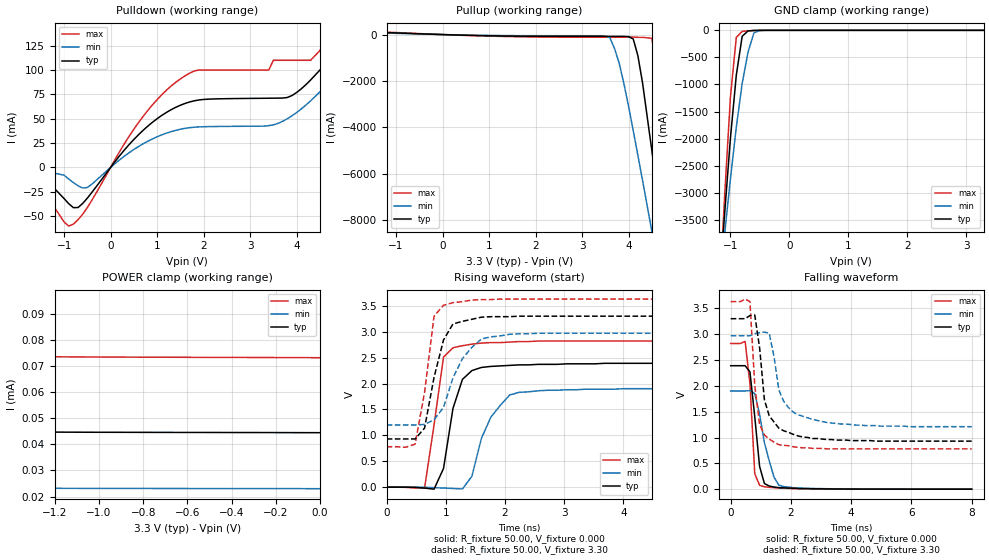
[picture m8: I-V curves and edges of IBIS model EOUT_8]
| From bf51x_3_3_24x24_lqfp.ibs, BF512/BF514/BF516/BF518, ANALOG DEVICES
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|   Model prwd0408swcdg_25
[Model]   EOUT_8
Model_type   I/O
Polarity   Non-Inverting
Enable   Active-Low
Vinl =   0.40V
Vinh =   2.40V
Vmeas =   1.20V
Cref =  50.00pF
Rref =   1.00M
Vref =  0.000V
C_comp   4.84pF   4.35pF   5.32pF
[Temperature Range]   25.00   0.12k   -40.00
[Voltage Range]   3.30V   2.97V   3.63V
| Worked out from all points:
|   slope of the pulldown table from 0 to 0.495 V, typ, clamps not added: 17.4 ohm
|   slope of the pullup table from 0 to 0.495 V, typ, clamps not added: 17.2 ohm
|   GND clamp passes 1 mA (typ) near -0.52 V on its own axis
|   POWER clamp passes 1 mA (typ) near -3.01 V on its own axis
|   rising waveform, R_fixture 50.00, V_fixture 0.000: 20-80 % time 256ps typ, 401ps min, 213ps max; typ from 0 V to 2.39 V
|   rising waveform, R_fixture 50.00, V_fixture 3.30: 20-80 % time 274ps typ, 415ps min, 211ps max; typ from 0.93 V to 3.3 V
|   falling waveform, R_fixture 50.00, V_fixture 0.000: 20-80 % time 248ps typ, 433ps min, 178ps max; typ from 2.39 V to 0 V
|   falling waveform, R_fixture 50.00, V_fixture 3.30: 20-80 % time 363ps typ, 532ps min, 243ps max; typ from 3.3 V to 0.93 V
[Pulldown]
| voltage   I(typ)   I(min)   I(max)
-3.3V     0A         0A         0A
-1.7V     0A         0A         -10mA
-900mV    -37.3mA    -12mA      -60.3mA
-500mV    -31.56mA   -20.63mA   -41.24mA
700mV     38.11mA    24.26mA    52.44mA
1.7V      67.21mA    40.81mA    96.76mA
3.9V      73.81mA    53.01mA    110mA
4.3V      89.76mA    68.34mA    110mA
5.1V      140mA      110mA      170mA
5.5V      170mA      59.43mA    210mA
6.1V      130mA      60.56mA    270mA
6.6V      900mA      68.72mA    3.72A
[Pullup]
| voltage   I(typ)   I(min)   I(max)
-3.3V     29.4mA     8.7mA      61mA
-2.5V     150mA      14.58mA    190mA
3.6V      -78.88mA   -140mA     -110mA
3.8V      -79.54mA   -1.25A     -110mA
4.1V      -190mA     -4.14A     -110mA
4.2V      -910mA     -5.21A     -120mA
4.3V      -2.08A     -6.29A     -120mA
4.5V      -5A        -8.48A     -160mA
4.7V      -8.09A     -10.68A    -2.62A
4.9V      -11.24A    -12.9A     -6.81A
5.1V      -14.4A     -15.12A    -11.2A
6.6V      -38.32A    -31.88A    -44.78A
[GND_clamp]
| voltage   I(typ)   I(min)   I(max)
-3.3V     -38.23A    -28.13A    -52.07A
-1.2V     -4.92A     -4.84A     -5.19A
-1.1V     -3.42A     -3.78A     -3.1A
-1V       -2A        -2.75A     -1.24A
-900mV    -830mA     -1.79A     -130mA
-800mV    -110mA     -980mA     -19.36mA
-700mV    -10.18mA   -400mA     -9.87mA
-600mV    -2.62mA    -45.19mA   -3.54mA
-500mV    -480uA     -4.58mA    -580uA
3.3V      44.45uA    23.04uA    73.04uA
[POWER_clamp]
| voltage   I(typ)   I(min)   I(max)
-3.3V     770mA      27.6uA     7.85A
-3.2V     190mA      26.92uA    6.49A
-3V       280uA      26.02uA    3.82A
-2.9V     54.42uA    25.63uA    2.54A
-2.8V     48.8uA     25.28uA    1.33A
-2.5V     47.08uA    24.43uA    150uA
-2.4V     46.67uA    24.21uA    77.43uA
-2.3V     46.3uA     24.02uA    76.27uA
-1.9V     45.3uA     23.48uA    74.58uA
-1.5V     44.82uA    23.22uA    73.79uA
0V        44.45uA    22.99uA    73.18uA
[Ramp]
| variable   typ   min   max
dV/dt_r   1.43/0.22n   1.14/0.34n   1.69/0.15n
dV/dt_f   1.42/0.31n   1.06/0.48n   1.71/0.20n
R_load = 50.00
[Rising Waveform]
R_fixture = 50.00
V_fixture = 0.000
V_fixture_min = 0.000
V_fixture_max = 0.000
L_fixture = 0.000H
C_fixture = 0.000F
| time   V(typ)   V(min)   V(max)
0s        0V         0V         0V
640ps     -17.91mV   -2.16mV    -17.8mV
800ps     -38.97mV   -10.66mV   1.2V
960ps     360mV      -17.51mV   2.51V
1.12ns    1.52V      -25.75mV   2.69V
1.28ns    2.08V      -34.95mV   2.73V
1.44ns    2.25V      210mV      2.76V
1.76ns    2.33V      1.35V      2.79V
2.24ns    2.36V      1.83V      2.81V
8ns       2.39V      1.9V       2.82V
[Rising Waveform]
R_fixture = 50.00
V_fixture = 3.30
V_fixture_min = 2.97
V_fixture_max = 3.63
L_fixture = 0.000H
C_fixture = 0.000F
| time   V(typ)   V(min)   V(max)
0s        930mV      1.2V       780mV
480ps     930mV      1.2V       830mV
640ps     1.14V      1.21V      1.83V
800ps     2.12V      1.3V       3.3V
960ps     2.84V      1.54V      3.51V
1.12ns    3.15V      2.11V      3.56V
1.28ns    3.2V       2.48V      3.58V
1.6ns     3.28V      2.86V      3.62V
1.76ns    3.29V      2.9V       3.62V
8ns       3.3V       2.97V      3.63V
[Falling Waveform]
R_fixture = 50.00
V_fixture = 0.000
V_fixture_min = 0.000
V_fixture_max = 0.000
L_fixture = 0.000H
C_fixture = 0.000F
| time   V(typ)   V(min)   V(max)
0s        2.39V      1.9V       2.82V
480ps     2.39V      1.9V       2.86V
640ps     2.27V      1.91V      2.04V
800ps     1.4V       1.85V      300mV
960ps     440mV      1.45V      74.05mV
1.12ns    110mV      900mV      45.69mV
1.44ns    41.33mV    230mV      28.7mV
1.6ns     30.06mV    77.82mV    21.31mV
2.72ns    7.85mV     13.2mV     4.35mV
8ns       42.18uV    110uV      -14.36uV
[Falling Waveform]
R_fixture = 50.00
V_fixture = 3.30
V_fixture_min = 2.97
V_fixture_max = 3.63
L_fixture = 0.000H
C_fixture = 0.000F
| time   V(typ)   V(min)   V(max)
0s        3.3V       2.97V      3.63V
640ps     3.36V      2.97V      3.63V
800ps     3.37V      3.01V      2.01V
960ps     2.74V      3.03V      1.25V
1.12ns    1.73V      3.04V      1.05V
1.28ns    1.42V      3.02V      970mV
1.44ns    1.3V       2.56V      910mV
1.6ns     1.18V      1.92V      860mV
2.24ns    1.03V      1.44V      810mV
8ns       930mV      1.21V      780mV
